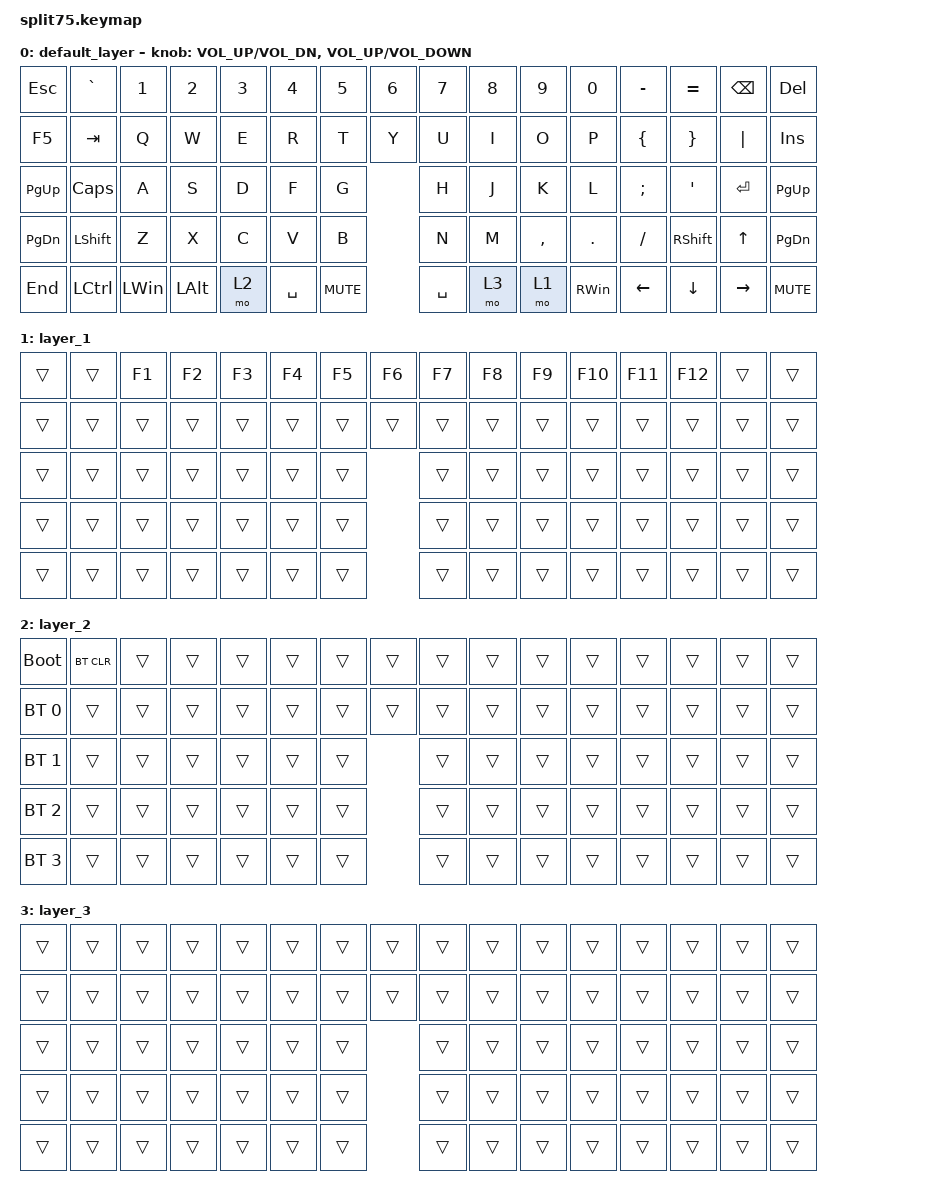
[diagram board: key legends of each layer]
#include <behaviors.dtsi>
#include <dt-bindings/zmk/bt.h>
#include <dt-bindings/zmk/keys.h>

/ {
    keymap {
        compatible = "zmk,keymap";

        default_layer {
            bindings = <
&kp ESC        &kp GRAVE       &kp N1        &kp N2        &kp N3  &kp N4     &kp N5      &kp N6  &kp N7     &kp N8  &kp N9     &kp N0         &kp MINUS      &kp EQUAL        &kp BACKSPACE  &kp DELETE
&kp F5         &kp TAB         &kp Q         &kp W         &kp E   &kp R      &kp T               &kp Y      &kp U   &kp I      &kp O          &kp P          &kp LBRC         &kp RBRC       &kp PIPE       &kp INSERT
&kp PAGE_UP    &kp CAPSLOCK    &kp A         &kp S         &kp D   &kp F      &kp G               &kp H      &kp J   &kp K      &kp L          &kp SEMICOLON  &kp SQT          &kp ENTER      &kp PAGE_UP
&kp PAGE_DOWN  &kp LEFT_SHIFT  &kp Z         &kp X         &kp C   &kp V      &kp B               &kp N      &kp M   &kp COMMA  &kp PERIOD     &kp SLASH      &kp RIGHT_SHIFT  &kp UP_ARROW   &kp PAGE_DOWN
&kp END        &kp LCTRL       &kp LEFT_WIN  &kp LEFT_ALT  &mo 2   &kp SPACE  &kp C_MUTE          &kp SPACE  &mo 3   &mo 1      &kp RIGHT_WIN  &kp LEFT       &kp DOWN_ARROW   &kp RIGHT      &kp C_MUTE
            >;

            sensor-bindings =
                <&inc_dec_kp C_VOL_UP C_VOL_DN>,
                <&inc_dec_kp C_VOL_UP C_VOLUME_DOWN>;
        };

        layer_1 {
            bindings = <
&trans  &trans  &kp F1  &kp F2  &kp F3  &kp F4  &kp F5  &kp F6  &kp F7  &kp F8  &kp F9  &kp F10  &kp F11  &kp F12  &trans  &trans
&trans  &trans  &trans  &trans  &trans  &trans  &trans          &trans  &trans  &trans  &trans   &trans   &trans   &trans  &trans  &trans
&trans  &trans  &trans  &trans  &trans  &trans  &trans          &trans  &trans  &trans  &trans   &trans   &trans   &trans  &trans
&trans  &trans  &trans  &trans  &trans  &trans  &trans          &trans  &trans  &trans  &trans   &trans   &trans   &trans  &trans
&trans  &trans  &trans  &trans  &trans  &trans  &trans          &trans  &trans  &trans  &trans   &trans   &trans   &trans  &trans
            >;
        };

        layer_2 {
            bindings = <
&bootloader   &bt BT_CLR  &trans  &trans  &trans  &trans  &trans  &trans  &trans  &trans  &trans  &trans  &trans  &trans  &trans  &trans
&bt BT_SEL 0  &trans      &trans  &trans  &trans  &trans  &trans          &trans  &trans  &trans  &trans  &trans  &trans  &trans  &trans  &trans
&bt BT_SEL 1  &trans      &trans  &trans  &trans  &trans  &trans          &trans  &trans  &trans  &trans  &trans  &trans  &trans  &trans
&bt BT_SEL 2  &trans      &trans  &trans  &trans  &trans  &trans          &trans  &trans  &trans  &trans  &trans  &trans  &trans  &trans
&bt BT_SEL 3  &trans      &trans  &trans  &trans  &trans  &trans          &trans  &trans  &trans  &trans  &trans  &trans  &trans  &trans
            >;
        };

        layer_3 {
            bindings = <
&trans  &trans  &trans  &trans  &trans  &trans  &trans  &trans  &trans  &trans  &trans  &trans  &trans  &trans  &trans  &trans
&trans  &trans  &trans  &trans  &trans  &trans  &trans          &trans  &trans  &trans  &trans  &trans  &trans  &trans  &trans  &trans
&trans  &trans  &trans  &trans  &trans  &trans  &trans          &trans  &trans  &trans  &trans  &trans  &trans  &trans  &trans
&trans  &trans  &trans  &trans  &trans  &trans  &trans          &trans  &trans  &trans  &trans  &trans  &trans  &trans  &trans
&trans  &trans  &trans  &trans  &trans  &trans  &trans          &trans  &trans  &trans  &trans  &trans  &trans  &trans  &trans
            >;
        };
    };
};
